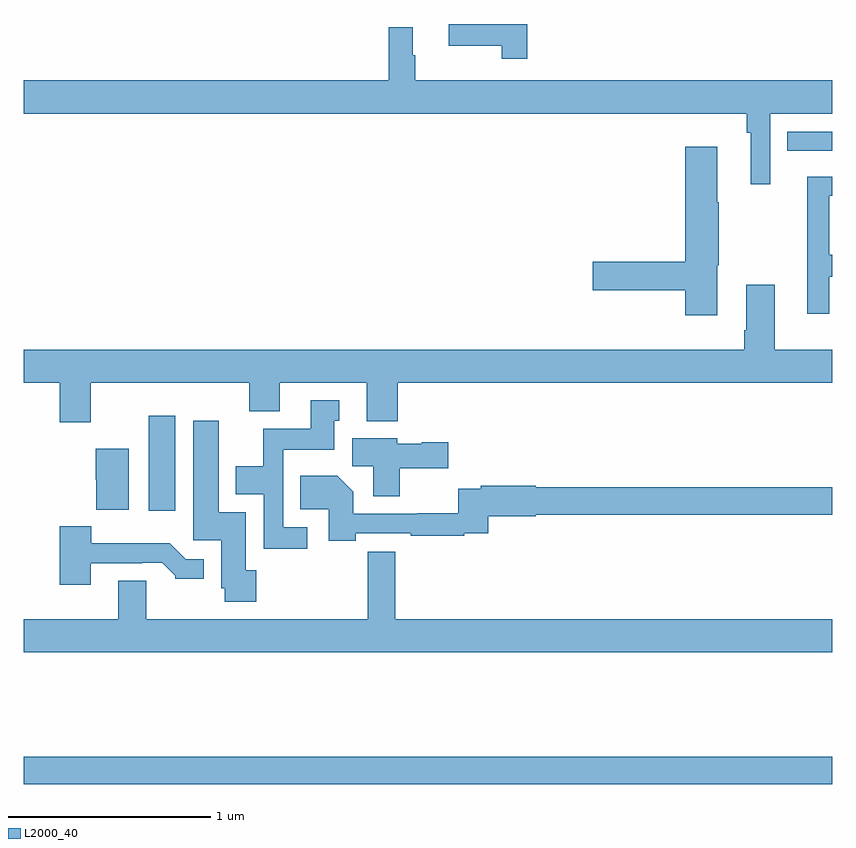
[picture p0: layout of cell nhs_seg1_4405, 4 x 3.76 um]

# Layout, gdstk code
import gdstk
lib = gdstk.Library(unit=1e-6, precision=1e-09)
def R(c, l, rs):  # rectangles x0, y0, x1, y1
    for r in rs: c.add(gdstk.rectangle(r[:2], r[2:], *l))
def P(c, l, *ps):  # polygons
    for p in ps: c.add(gdstk.Polygon(p, *l))
L2000_40 = (2000, 40)

nhs_seg1_4405 = lib.new_cell('nhs_seg1_4405')
R(nhs_seg1_4405, L2000_40, [(351,524.44,355,524.576), (351.62,525.792,351.751,526.261), (354.778,527.571,355,527.667)])
P(nhs_seg1_4405, L2000_40, [(353.492,528.199),(353.102,528.199),(353.102,528.092),(353.364,528.092),(353.364,528.027),(353.492,528.027)],
  [(354.693,527.756),(355,527.756),(355,527.92),(352.936,527.92),(352.936,528.044),(352.924,528.044),(352.924,528.184),(352.807,528.184),(352.807,527.92),(351,527.92),(351,527.756),(354.577,527.756),(354.577,527.66),(354.596,527.66),(354.596,527.406),(354.693,527.406)],
  [(354.43,527.007),(354.438,527.007),(354.438,527.318),(354.43,527.318),(354.43,527.593),(354.272,527.593),(354.272,527.024),(353.814,527.024),(353.814,526.882),(354.272,526.882),(354.272,526.758),(354.43,526.758)],
  [(354.985,526.95),(355,526.95),(355,527.058),(354.985,527.058),(354.985,527.349),(355,527.349),(355,527.443),(354.876,527.443),(354.876,527.011),(354.875,527.011),(354.875,526.767),(354.985,526.767)],
  [(351.331,526.424),(352.115,526.424),(352.115,526.283),(352.267,526.283),(352.267,526.424),(352.697,526.424),(352.697,526.235),(352.85,526.235),(352.85,526.424),(355,526.424),(355,526.588),(354.715,526.588),(354.715,526.909),(354.575,526.909),(354.575,526.684),(354.563,526.684),(354.563,526.588),(351,526.588),(351,526.424),(351.179,526.424),(351.179,526.23),(351.331,526.23)],
  [(352.402,525.711),(352.284,525.711),(352.284,526.094),(352.537,526.094),(352.537,526.236),(352.561,526.236),(352.561,526.339),(352.421,526.339),(352.421,526.198),(352.186,526.198),(352.186,526.012),(352.049,526.012),(352.049,525.872),(352.188,525.872),(352.188,525.603),(352.402,525.603)],
  [(352.151,525.498),(352.099,525.498),(352.099,525.784),(351.964,525.784),(351.964,526.237),(351.839,526.237),(351.839,525.645),(351.977,525.645),(351.977,525.408),(351.994,525.408),(351.994,525.342),(352.151,525.342)],
  [(352.86,526.001),(353.101,526.001),(353.101,526.131),(352.968,526.131),(352.968,526.123),(352.848,526.123),(352.848,526.15),(352.625,526.15),(352.625,526.012),(352.73,526.012),(352.73,525.864),(352.86,525.864)],
  [(351.52,526.099),(351.356,526.099),(351.356,525.945),(351.358,525.945),(351.358,525.797),(351.52,525.797)],
  [(352.642,525.681),(352.915,525.681),(352.915,525.669),(353.18,525.669),(353.18,525.681),(353.297,525.681),(353.297,525.764),(353.532,525.764),(353.532,525.772),(355,525.772),(355,525.908),(353.532,525.908),(353.532,525.914),(353.26,525.914),(353.26,525.901),(353.149,525.901),(353.149,525.78),(352.948,525.78),(352.948,525.777),(352.63,525.777),(352.63,525.886),(352.552,525.964),(352.369,525.964),(352.369,525.8),(352.508,525.8),(352.508,525.643),(352.642,525.643)],
  [(351.331,525.531),(351.587,525.531),(351.587,525.534),(351.686,525.534),(351.75,525.47),(351.75,525.455),(351.892,525.455),(351.892,525.552),(351.801,525.552),(351.723,525.631),(351.334,525.631),(351.334,525.715),(351.179,525.715),(351.179,525.426),(351.331,525.426)],
  [(355,525.256),(352.838,525.256),(352.838,525.589),(352.702,525.589),(352.702,525.256),(351.607,525.256),(351.607,525.446),(351.467,525.446),(351.467,525.256),(351,525.256),(351,525.092),(355,525.092)])

lib.write_gds('nhs_seg1_4405.gds')
